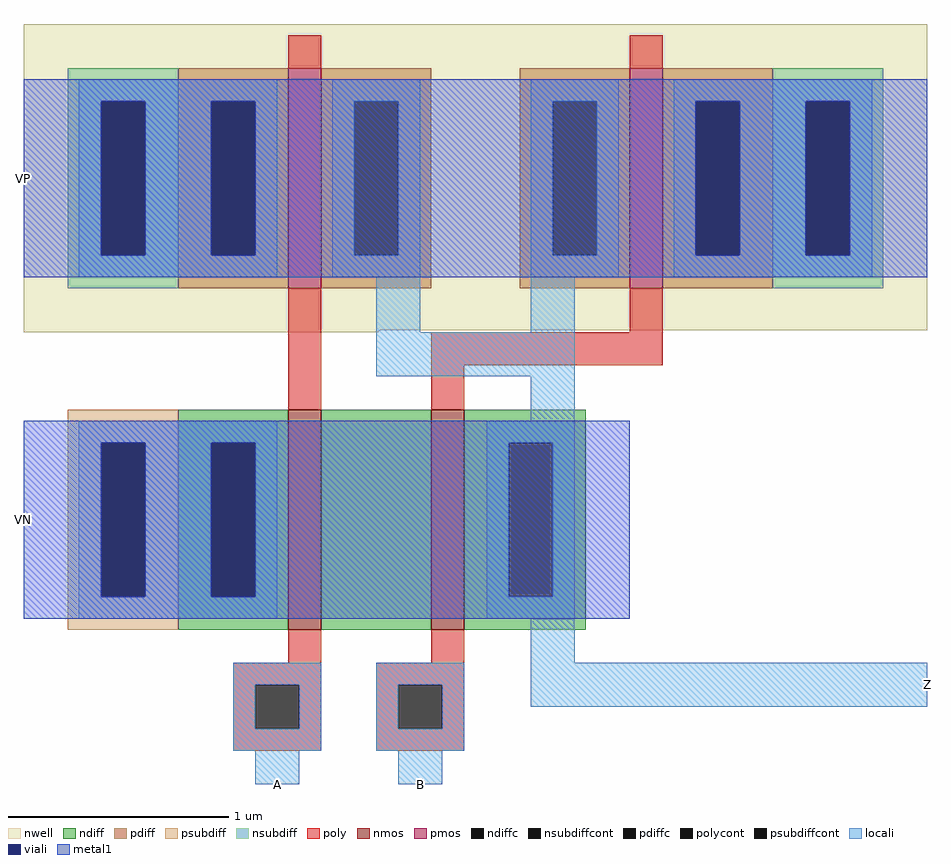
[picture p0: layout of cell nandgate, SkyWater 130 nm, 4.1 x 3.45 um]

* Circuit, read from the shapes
.subckt nandgate A B Z VN VP
XM1 n1 A VN VN sky130_fd_pr__nfet_01v8 w=1 l=0.15
XM2 Z B n1 VN sky130_fd_pr__nfet_01v8 w=1 l=0.15
XM3 Z A VP VP sky130_fd_pr__pfet_01v8 w=1 l=0.15
XM4 VP B Z VP sky130_fd_pr__pfet_01v8 w=1 l=0.15
.ends

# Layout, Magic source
magic
tech sky130A
<< nwell >>
rect -25 206 385 345
rect -25 205 136 206
<< nmos >>
rect 95 70 110 170
rect 160 70 175 170
<< pmos >>
rect 95 225 110 325
rect 250 225 265 325
<< ndiff >>
rect 45 155 95 170
rect 45 85 60 155
rect 80 85 95 155
rect 45 70 95 85
rect 110 70 160 170
rect 175 155 230 170
rect 175 85 195 155
rect 215 85 230 155
rect 175 70 230 85
<< pdiff >>
rect 45 310 95 325
rect 45 240 60 310
rect 80 240 95 310
rect 45 225 95 240
rect 110 310 160 325
rect 110 240 125 310
rect 145 240 160 310
rect 110 225 160 240
rect 200 310 250 325
rect 200 240 215 310
rect 235 240 250 310
rect 200 225 250 240
rect 265 310 315 325
rect 265 240 280 310
rect 300 240 315 310
rect 265 225 315 240
<< ndiffc >>
rect 60 85 80 155
rect 195 85 215 155
<< pdiffc >>
rect 60 240 80 310
rect 125 240 145 310
rect 215 240 235 310
rect 280 240 300 310
<< psubdiff >>
rect -5 155 45 170
rect -5 85 10 155
rect 30 85 45 155
rect -5 70 45 85
<< nsubdiff >>
rect -5 310 45 325
rect -5 240 10 310
rect 30 240 45 310
rect -5 225 45 240
rect 315 310 365 325
rect 315 240 330 310
rect 350 240 365 310
rect 315 225 365 240
<< psubdiffcont >>
rect 10 85 30 155
<< nsubdiffcont >>
rect 10 240 30 310
rect 330 240 350 310
<< poly >>
rect 95 325 110 340
rect 250 325 265 340
rect 95 170 110 225
rect 250 205 265 225
rect 160 190 265 205
rect 160 170 175 190
rect 95 55 110 70
rect 160 55 175 70
rect 70 45 110 55
rect 70 25 80 45
rect 100 25 110 45
rect 70 15 110 25
rect 135 45 175 55
rect 135 25 145 45
rect 165 25 175 45
rect 135 15 175 25
<< polycont >>
rect 80 25 100 45
rect 145 25 165 45
<< locali >>
rect 0 310 90 320
rect 0 240 10 310
rect 30 240 60 310
rect 80 240 90 310
rect 0 230 90 240
rect 115 310 155 320
rect 115 240 125 310
rect 145 240 155 310
rect 115 230 155 240
rect 135 205 155 230
rect 205 310 245 320
rect 205 240 215 310
rect 235 240 245 310
rect 205 230 245 240
rect 270 310 360 320
rect 270 240 280 310
rect 300 240 330 310
rect 350 240 360 310
rect 270 230 360 240
rect 205 205 225 230
rect 135 185 225 205
rect 205 165 225 185
rect 0 155 90 165
rect 0 85 10 155
rect 30 85 60 155
rect 80 85 90 155
rect 0 75 90 85
rect 185 155 225 165
rect 185 85 195 155
rect 215 85 225 155
rect 185 75 225 85
rect 205 55 225 75
rect 70 45 110 55
rect 70 25 80 45
rect 100 25 110 45
rect 70 15 110 25
rect 135 45 175 55
rect 135 25 145 45
rect 165 25 175 45
rect 205 35 385 55
rect 135 15 175 25
rect 80 0 100 15
rect 145 0 165 15
<< viali >>
rect 10 240 30 310
rect 60 240 80 310
rect 280 240 300 310
rect 330 240 350 310
rect 10 85 30 155
rect 60 85 80 155
<< metal1 >>
rect -25 310 385 320
rect -25 240 10 310
rect 30 240 60 310
rect 80 240 280 310
rect 300 240 330 310
rect 350 240 385 310
rect -25 230 385 240
rect -25 155 250 165
rect -25 85 10 155
rect 30 85 60 155
rect 80 85 250 155
rect -25 75 250 85
<< labels >>
rlabel locali 90 0 90 0 5 A
port 1 s
rlabel locali 155 0 155 0 5 B
port 2 s
rlabel metal1 -25 120 -25 120 7 VN
port 4 w
rlabel metal1 -25 275 -25 275 7 VP
port 5 w
rlabel locali 385 45 385 45 3 Z
port 3 e
<< end >>
